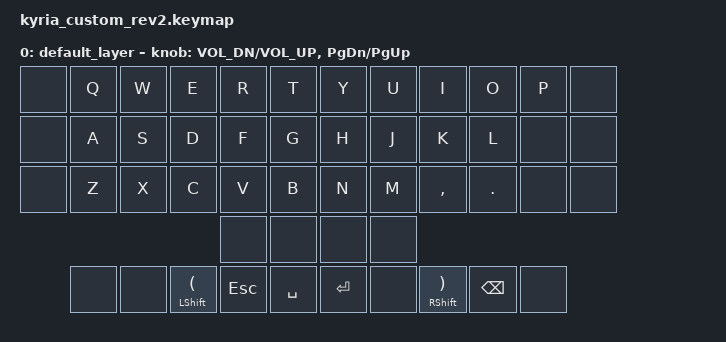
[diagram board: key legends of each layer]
// vim: ft=dts nowrap

#include <behaviors.dtsi>
#include <dt-bindings/zmk/keys.h>
#include <dt-bindings/zmk/outputs.h>
#include <dt-bindings/zmk/bt.h>

#define L_SHF_PAR &mt LSHFT LPAR
#define R_SHF_PAR &mt RSHFT RPAR

&left_encoder { resolution = <2>; };
&right_encoder { resolution = <2>; };


/ {
	keymap {
		compatible = "zmk,keymap";
		default_layer {
			bindings = <
// ╭───────────┬───────────┬───────────┬───────────┬───────────┬───────────╮ ╭───────────┬───────────┬───────────┬───────────┬───────────┬───────────╮
     &none       &kp Q       &kp W       &kp E       &kp R       &kp T         &kp Y       &kp U       &kp I       &kp O       &kp P       &none
// ├───────────┼───────────┼───────────┼───────────┼───────────┼───────────┤ ├───────────┼───────────┼───────────┼───────────┼───────────┼───────────┤
     &none       &kp A       &kp S       &kp D       &kp F       &kp G         &kp H       &kp J       &kp K       &kp L       &none       &none
// ├───────────┼───────────┼───────────┼───────────┼───────────┼───────────┤ ├───────────┼───────────┼───────────┼───────────┼───────────┼───────────┤
     &none       &kp Z       &kp X       &kp C       &kp V       &kp B         &kp N       &kp M       &kp COMMA   &kp DOT     &none       &none
// ╰───────────┴───────────┴───────────┴───────────┴───────────┴───────────╯ ╰───────────┴───────────┴───────────┴───────────┴───────────┴───────────╯
//                                                 ╭───────────┬───────────╮ ╭───────────┬───────────╮
                                                     &none       &none         &none       &none
//             ╭───────────┬───────────┬───────────┼───────────┼───────────┤ ├───────────┬───────────┬───────────┬───────────┬───────────╮
                 &none       &none       L_SHF_PAR   &kp ESC     &kp SPACE     &kp RET     &none       R_SHF_PAR   &kp BSPC    &none
//             ╰───────────┴───────────┴───────────┴───────────┴───────────╯ ╰───────────┴───────────┴───────────┴───────────┴───────────╯
			>;

			sensor-bindings = <&inc_dec_kp C_VOL_DN C_VOL_UP &inc_dec_kp PG_DN PG_UP>;
		};
	};
};
